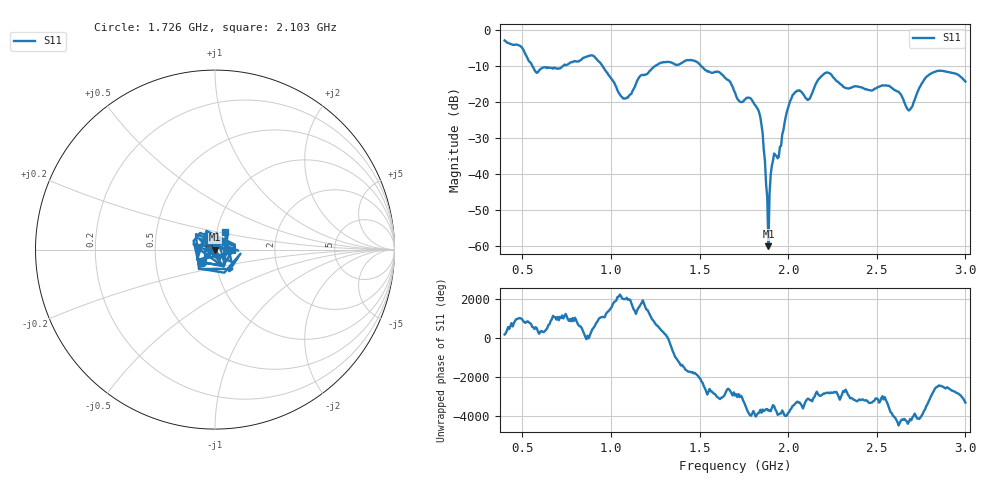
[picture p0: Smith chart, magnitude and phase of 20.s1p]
!Created with skrf (http://scikit-rf.org).
# Hz S RI R 50.0
!freq ReS11 ImS11
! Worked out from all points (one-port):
!   401 points, 400 MHz to 3 GHz, reference 50 ohm
!   lowest |S11| = -60.2 dB at 1.889 GHz (marker M1), VSWR 1.00, Z = 50 - j0.0911 ohm
!   |S11| at or under -10 dB: 556.7 MHz to 729.9 MHz (173.2 MHz wide, 26.9 % of centre); 952.4 MHz to 1.249 GHz (296.9 MHz wide, 27 % of centre); 1.509 GHz to end of sweep
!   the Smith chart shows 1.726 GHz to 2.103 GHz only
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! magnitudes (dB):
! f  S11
! 400 MHz  -2.9
! 491 MHz  -4.5
! 582 MHz  -11.9
! 725 MHz  -10.2
! 900.5 MHz  -7.2
! 1.05 GHz  -17.9
! 1.095 GHz  -18.8
! 1.161 GHz  -13.0
! 1.271 GHz  -9.3
! 1.375 GHz  -9.6
! 1.46 GHz  -8.4
! 1.609 GHz  -11.7
! 1.7 GHz  -17.4
! 1.83 GHz  -22.1
! 1.856 GHz  -28.8
! 1.875 GHz  -42.9
! 1.889 GHz  -60.2
! 1.901 GHz  -40.2
! 1.915 GHz  -36.3
! 1.947 GHz  -35.3
! 2.025 GHz  -18.1
! 2.116 GHz  -19.3
! 2.22 GHz  -11.8
! 2.35 GHz  -16.1
! 2.564 GHz  -15.5
! 2.675 GHz  -22.1
! 2.812 GHz  -12.0
! 3 GHz  -14.3
